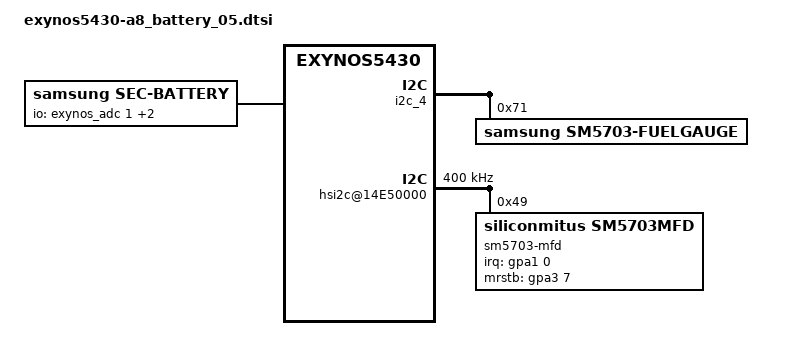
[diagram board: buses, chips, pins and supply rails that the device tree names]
/*
 * SAMSUNG UNIVERSAL5430 board device tree source
 *
 * Copyright (c) 2013 Samsung Electronics Co., Ltd.
 *		http://www.samsung.com
 *
 * This program is free software; you can redistribute it and/or modify
 * it under the terms of the GNU General Public License version 2 as
 * published by the Free Software Foundation.
*/

/ {
	pinctrl@10580000 {
		fuel_irq: fuel-irq {
			samsung,pins = "gpa1-5";
			samsung,pin-function = <0>;
			samsung,pin-pud = <0>;
			samsung,pin-drv = <0>;
		};
	};

	pinctrl@14CC0000 {
		chg_en: chg-en {
			samsung,pins = "gpf1-6";
			samsung,pin-function = <1>;
			samsung,pin-pud = <0>;
			samsung,pin-drv = <0>;
		};
		factory_discharging: factory-discharging {
			samsung,pins = "gpg2-2";
			samsung,pin-function = <1>;
			samsung,pin-pud = <0>;
		};
	};

	i2c_4: i2c@14E80000 {
		status = "okay";
		samsung,i2c-max-bus-freq = <400000>;
		sm5703-fuelgauge@71 {
			compatible = "samsung,sm5703-fuelgauge";
			reg = <0x71>;
			pinctrl-names = "default";
			pinctrl-0 = <&fuel_irq>;
			fuelgauge,fuel_int = <&gpa1 5 0>;
			fuelgauge,fuel_alert_soc = <2>;
			fuelgauge,capacity_max = <990>;
			fuelgauge,capacity_max_margin = <50>;
			fuelgauge,capacity_min = <0>;
			fuelgauge,capacity_calculation_type = <12>;
			fuelgauge,type_str = "SDI";
		};
	};

	battery_params {
		battery,id = <0>; /* -1 means auto, detected by F/G */
		battery0,battery_type = <4350>; /* 4200 4350 4400 */
		battery0,battery_table0 = <0x1400 0x1B33 0x1C9B 0x1D60 0x1D83 0x1DD4 0x1E12 0x1E73 0x1ECA 0x1F09 0x1F78 0x1FD5 0x2090 0x20F8 0x22CC 0x2400>;
		battery0,battery_table1 = <0x1400 0x1B33 0x1C9B 0x1D60 0x1D83 0x1DD4 0x1E12 0x1E73 0x1ECA 0x1F09 0x1F78 0x1FD5 0x2090 0x20F8 0x22CC 0x2400>;
		battery0,battery_table2 = <0x00 0x38 0x5E 0xBB 0x1F4 0x3A9 0x57D 0x926 0xB97 0xCCF 0xE07 0xF40 0x11B0 0x12E9 0x1866 0x186C>;
		battery0,temp_std = <25>;
		battery0,temp_offset = <10>;
		battery0,temp_offset_cal = <0x01>;
		battery0,charge_offset_cal = <(-0x0d)>;
		battery0,rce_value = <0x0749 0x0580 0x371>;
		battery0,dtcd_value = <0x1>;
		battery0,rs_value = <0x1ae 0x47a 0x3800 0x00a4>; /*rs mix_factor max min*/
		battery0,vit_period = <0x350a>;
		battery0,mix_value = <0x0503 0x0004>; /*mix_rate init_blank*/
		battery0,topoff_soc = <0x0 0x5>; /*enable soc*/
		battery0,volt_cal = <0x8000>;
		battery0,curr_cal = <0x7c00>;
	};

	battery {
		status = "okay";

		pinctrl-names = "default";
		pinctrl-0 = <&factory_discharging>;

		battery,factory_discharging = <&gpg2 2 0>;

		compatible = "samsung,sec-battery";
		battery,vendor = "SDI SDI";
		battery,charger_name = "sm5703-charger";
		battery,fuelgauge_name = "sm5703-fuelgauge";
		battery,technology = <2>; /* POWER_SUPPLY_TECHNOLOGY_LION */
		/* .temp_cohot = -1000; */
		/* .temp_cocold = -4325; */

		battery,chip_vendor = "LSI";
		battery,temp_adc_type = <1>; /* SEC_BATTERY_ADC_TYPE_AP */

		battery,polling_time = <10 30 30 30 3600>;

		battery,temp_table_adc = <531 621 642 662 683 700 733 759 787 813 839 857 886 916 944 973
					1006 1037 1066 1103 1135 1168 1202 1238 1275 1309 1346 1545 1761 1987 2215 2396
					2675 2882 2927 2968 3002 3038 3086 3119 3154 3195 3221 3251 3282 3322 3347
					3369 3396 3526>;


		battery,temp_table_data = <700 650 640 630 620 610 600 590 580 570 560 550
					540 530 520 510 500 490 480 470 460 450 440 430
					420 410 400 350 300 250 200 150 100 50 40 30 20 10 0
					(-10) (-20) (-30) (-40) (-50) (-60) (-70) (-80) (-90) (-100) (-150)>;


		battery,input_current_limit = <1750 0 0 1750 500 900 1000 500 1000 0 760 1900 1800 0 1400 400 700 1300 300 1000 1600>;
		battery,fast_charging_current = <2100 0 0 2100 750 1200 1000 750 1200 0 900 1600 2100 0 1400 400 700 1300 300 1000 1900>;
		battery,full_check_current_1st = <200 0 0 200 200 200 200 200 200 0 200 200 200 0 200 200 200 200 200 200 200>;
		battery,full_check_current_2nd = <100 0 0 100 100 100 100 100 100 0 100 100 100 0 100 100 100 100 100 100 100>;

		battery,inbat_voltage = <1>;
		battery,inbat_voltage_table_adc = <2661 2620 2600 2586 2566 2536 2513 2486 2461 2431
						2403 2373 2360 2334 2301 2273 2245 2224 2200 2167 2137>;
		battery,inbat_voltage_table_data = <438 435 430 425 420 415 410 405 400 395
						390 385 380 375 370 365 360 355 350 345 340>;

		battery,adc_check_count = <5>;

		battery,cable_check_type = <4>; /* SEC_BATTERY_CABLE_CHECK_PSY */
		battery,cable_source_type = <1>; /* SEC_BATTERY_CABLE_SOURCE_EXTERNAL */
		battery,event_waiting_time = <600>;
		battery,polling_type = <1>; /* SEC_BATTERY_MONITOR_ALARM */
		battery,monitor_initial_count = <0>;

		battery,battery_check_type = <0>; /* SEC_BATTERY_CHECK_CHARGER */
		battery,check_count = <0>;
		battery,check_adc_max = <1440>;
		battery,check_adc_min = <0>;

		battery,ovp_uvlo_check_type = <3>; /* SEC_BATTERY_OVP_UVLO_CHGPOLLING */

		battery,thermal_source = <2>; /* SEC_BATTERY_THERMAL_SOURCE_ADC */

		battery,temp_check_type = <2>; /* SEC_BATTERY_TEMP_CHECK_TEMP */
		battery,temp_check_count = <1>;
		battery,temp_highlimit_threshold_event = <800>;
		battery,temp_highlimit_recovery_event = <750>;
		battery,temp_high_threshold_event = <580>;
		battery,temp_high_recovery_event = <530>;
		battery,temp_low_threshold_event = <(-50)>;
		battery,temp_low_recovery_event = <0>;
		battery,temp_highlimit_threshold_normal = <800>;
		battery,temp_highlimit_recovery_normal = <750>;
		battery,temp_high_threshold_normal = <580>;
		battery,temp_high_recovery_normal = <530>;
		battery,temp_low_threshold_normal = <(-50)>;
		battery,temp_low_recovery_normal = <0>;
		battery,temp_highlimit_threshold_lpm = <800>;
		battery,temp_highlimit_recovery_lpm = <750>;
		battery,temp_high_threshold_lpm = <580>;
		battery,temp_high_recovery_lpm = <530>;
		battery,temp_low_threshold_lpm = <(-50)>;
		battery,temp_low_recovery_lpm = <0>;
		battery,full_check_type = <7>; /* SEC_BATTERY_FULLCHARGED_CHGPSY */
		battery,full_check_type_2nd = <7>; /* SEC_BATTERY_FULLCHARGED_CHGPSY */
		battery,full_check_count = <1>;
		battery,chg_gpio_full_check = <0>;
		battery,chg_polarity_full_check = <1>;

		/* SEC_BATTERY_FULL_CONDITION_SOC |
		   SEC_BATTERY_FULL_CONDITION_NOTIMEFULL |
		   SEC_BATTERY_FULL_CONDITION_VCELL */
		battery,full_condition_type = <13>;
		battery,full_condition_soc = <93>;
		battery,full_condition_vcell = <4300>;

		battery,recharge_check_count = <2>;
		battery,recharge_condition_type = <4>; /* SEC_BATTERY_RECHARGE_CONDITION_VCELL */
		battery,recharge_condition_soc = <98>;
		battery,recharge_condition_vcell = <4350>;

		battery,charging_total_time = <21600>;
		battery,recharging_total_time = <5400>;
		battery,charging_reset_time = <0>;

		battery,always_enable;

		io-channels = <&exynos_adc 1>, <&exynos_adc 7>, <&exynos_adc 3>;
		io-channel-names = "adc-temp", "in-bat-adc", "discharging-check-adc";
		#io-channel-cells = <1>;
		io-channel-ranges;

		battery,chg_float_voltage = <4390>;

		battery,self_discharging_en;
		battery,force_discharging_limit = <650>;
		battery,force_discharging_recov = <550>;
		battery,self_discharging_voltage_limit = <4250>;
		battery,discharging_adc_max = <2600>;
		battery,discharging_adc_min = <1700>;
		battery,discharging_ntc_limit = <2750>;
		battery,swelling_high_temp_block = <500>;
		battery,swelling_high_temp_recov = <450>;
		battery,swelling_low_temp_block = <50>;
		battery,swelling_low_temp_recov = <100>;
		battery,swelling_chg_current = <1300>;
		battery,swelling_topoff_current = <175>;
		battery,swelling_drop_float_voltage = <4200>;
		battery,swelling_high_rechg_voltage = <4150>;
		battery,swelling_low_rechg_voltage = <4050>;
		battery,swelling_block_time = <600>;
	};

	hsi2c@14E50000 {
		samsung,hs-mode;
		clock-frequency = <400000>;
		status = "okay";

		sm5703-mfd@49 {
			compatible = "siliconmitus,sm5703mfd";
			reg = <0x49>;
			pinctrl-names = "default";
			pinctrl-0 = <&chg_en &if_pmic_irq>;
			sm5703,irq-gpio = <&gpa1 0 0>;
			sm5703,mrstb-gpio = <&gpa3 7 0>;

			sm5703_fled {
				compatible = "siliconmitus,sm5703-fled";
				enable = <1 1>;
				flash_current = <1200>;
				movie_current = <150>;
				sm5703,led1-gpio = <&gpc0 1 0>;
				sm5703,led2-gpio = <&gpc0 2 0>;
				pinctrl-names = "fled_default","fled_sleep";
				pinctrl-0 = <&fled_flash_active>;
				pinctrl-1 = <&fled_flash_sleep>;
			};
		};
	};

	charger {
		status = "disable";
		compatible = "siliconmitus,sm5703-charger";

		/* Charger */
		battery,charger_name = "sm5703-charger";
		battery,chg_gpio_en = <&gpf1 6 0>;
		battery,chg_polarity_en = <0>;
		battery,chg_gpio_status = <0>;
		battery,chg_polarity_status = <0>;
		battery,chg_float_voltage = <4390>;
		chg_autostop = <1>;
		chg_autoset = <1>;
		chg_aiclen = <1>;
		chg_aiclth = <4300>;
		fg_vol_val = <4350>;
		fg_soc_val = <95>;
		fg_curr_avr_val = <150>;

	};
};
